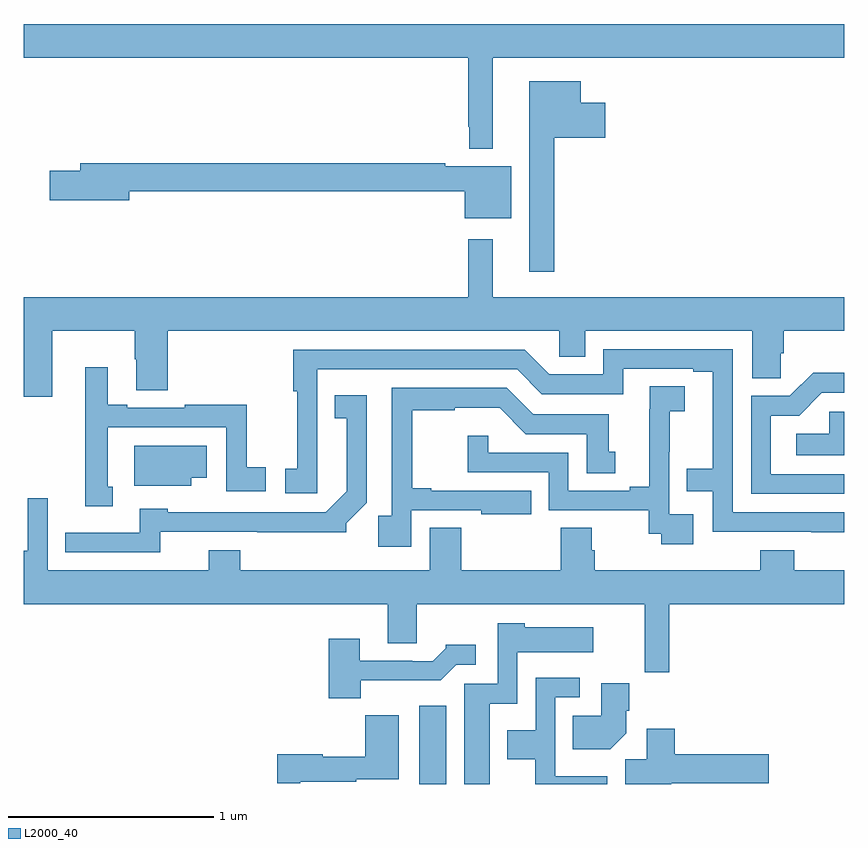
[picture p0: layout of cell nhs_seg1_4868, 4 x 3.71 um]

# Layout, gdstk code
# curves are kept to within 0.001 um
import gdstk
lib = gdstk.Library(unit=1e-6, precision=1e-09)
def R(c, l, rs):  # rectangles x0, y0, x1, y1
    for r in rs: c.add(gdstk.rectangle(r[:2], r[2:], *l))
def P(c, l, *ps):  # polygons
    for p in ps: c.add(gdstk.Polygon(p, *l))
L2000_40 = (2000, 40)

nhs_seg1_4868 = lib.new_cell('nhs_seg1_4868')
R(nhs_seg1_4868, L2000_40, [(376.928,540.199,377.059,540.58)])
P(nhs_seg1_4868, L2000_40, [(377.287,543.74),(379,543.74),(379,543.904),(375,543.904),(375,543.74),(377.166,543.74),(377.166,543.403),(377.172,543.403),(377.172,543.296),(377.287,543.296)],
  [(377.587,543.35),(377.836,543.35),(377.836,543.52),(377.716,543.52),(377.716,543.625),(377.465,543.625),(377.465,542.697),(377.587,542.697)],
  [(377.377,543.211),(377.054,543.211),(377.054,543.224),(375.275,543.224),(375.275,543.188),(375.126,543.188),(375.126,543.046),(375.514,543.046),(375.514,543.088),(377.15,543.088),(377.15,542.957),(377.377,542.957)],
  [(375.139,542.408),(375.541,542.408),(375.541,542.27),(375.548,542.27),(375.548,542.119),(375.701,542.119),(375.701,542.408),(377.61,542.408),(377.61,542.281),(377.737,542.281),(377.737,542.408),(378.551,542.408),(378.551,542.176),(378.69,542.176),(378.69,542.299),(378.704,542.299),(378.704,542.408),(379,542.408),(379,542.572),(377.287,542.572),(377.287,542.854),(377.166,542.854),(377.166,542.572),(375,542.572),(375,542.088),(375.139,542.088)],
  [(379,541.524),(378.456,541.524),(378.456,542.319),(377.826,542.319),(377.826,542.196),(377.562,542.196),(377.442,542.316),(376.315,542.316),(376.315,542.113),(376.333,542.113),(376.333,541.737),(376.275,541.737),(376.275,541.617),(376.432,541.617),(376.431,542.22),(377.406,542.22),(377.526,542.1),(377.922,542.1),(377.922,542.223),(378.263,542.223),(378.263,542.208),(378.359,542.208),(378.359,541.735),(378.232,541.735),(378.232,541.626),(378.36,541.626),(378.36,541.428),(379,541.427)],
  [(375.433,541.647),(375.409,541.647),(375.409,541.938),(375.987,541.938),(375.987,541.626),(376.18,541.626),(376.18,541.742),(376.086,541.742),(376.086,542.047),(375.784,542.047),(375.784,542.034),(375.505,542.034),(375.505,542.047),(375.409,542.047),(375.409,542.23),(375.299,542.23),(375.299,541.985),(375.3,541.985),(375.3,541.553),(375.433,541.553)],
  [(379,541.71),(378.642,541.71),(378.642,541.995),(378.78,541.995),(378.891,542.106),(379,542.106),(379,542.204),(378.848,542.204),(378.735,542.091),(378.546,542.091),(378.546,541.614),(379,541.614)],
  [(378.265,541.515),(378.147,541.515),(378.147,541.819),(378.149,541.819),(378.149,542.017),(378.223,542.017),(378.223,542.138),(378.052,542.138),(378.052,542.027),(378.05,542.027),(378.05,541.649),(377.954,541.649),(377.954,541.629),(377.655,541.629),(377.655,541.815),(377.265,541.815),(377.265,541.897),(377.164,541.897),(377.164,541.719),(377.559,541.719),(377.559,541.533),(378.046,541.533),(378.046,541.419),(378.109,541.419),(378.109,541.368),(378.265,541.368)],
  [(376.89,541.533),(377.231,541.533),(377.231,541.514),(377.474,541.514),(377.474,541.629),(376.987,541.629),(376.987,541.642),(376.895,541.642),(376.895,542.022),(377.102,542.022),(377.102,542.033),(377.32,542.033),(377.448,541.905),(377.744,541.905),(377.744,541.714),(377.884,541.714),(377.884,541.818),(377.851,541.818),(377.851,542.001),(377.484,542.001),(377.355,542.13),(376.794,542.13),(376.794,541.507),(376.729,541.507),(376.729,541.356),(376.89,541.356)],
  [(375.666,541.428),(376.572,541.427),(376.572,541.471),(376.671,541.57),(376.671,542.095),(376.516,542.095),(376.516,541.982),(376.574,541.982),(376.574,541.625),(376.473,541.524),(375.702,541.524),(375.702,541.54),(375.566,541.54),(375.566,541.425),(375.202,541.425),(375.202,541.329),(375.666,541.329)],
  [(379,542.013),(378.927,542.013),(378.927,541.906),(378.765,541.906),(378.765,541.802),(379,541.802)],
  [(375.817,541.691),(375.892,541.691),(375.892,541.849),(375.539,541.849),(375.539,541.652),(375.817,541.652)],
  [(378.146,541.076),(379,541.076),(379,541.24),(378.755,541.24),(378.755,541.339),(378.59,541.339),(378.59,541.24),(377.783,541.24),(377.783,541.338),(377.77,541.338),(377.77,541.448),(377.618,541.448),(377.618,541.24),(377.132,541.24),(377.132,541.448),(376.979,541.448),(376.979,541.24),(376.055,541.24),(376.055,541.339),(375.902,541.339),(375.902,541.24),(375.117,541.24),(375.117,541.591),(375.02,541.591),(375.02,541.336),(375.001,541.336),(375.001,541.24),(375,541.24),(375,541.076),(376.775,541.076),(376.775,540.886),(376.915,540.886),(376.915,541.076),(378.028,541.076),(378.028,540.744),(378.146,540.744)],
  [(377.272,540.59),(377.406,540.59),(377.406,540.842),(377.776,540.842),(377.776,540.964),(377.442,540.964),(377.442,540.982),(377.31,540.982),(377.31,540.687),(377.147,540.687),(377.147,540.199),(377.272,540.199)],
  [(376.642,540.704),(377.033,540.704),(377.109,540.78),(377.203,540.78),(377.203,540.877),(377.058,540.877),(377.058,540.862),(376.994,540.798),(376.895,540.798),(376.895,540.801),(376.639,540.801),(376.639,540.907),(376.487,540.907),(376.487,540.617),(376.642,540.617)],
  [(377.845,540.238),(377.592,540.238),(377.592,540.621),(377.71,540.621),(377.71,540.717),(377.496,540.717),(377.496,540.46),(377.357,540.46),(377.357,540.32),(377.494,540.32),(377.494,540.199),(377.845,540.199)],
  [(377.938,540.446),(377.938,540.556),(377.951,540.556),(377.951,540.691),(377.816,540.691),(377.816,540.532),(377.677,540.532),(377.677,540.368),(377.86,540.368)],
  [(376.348,540.209),(376.62,540.209),(376.62,540.221),(376.828,540.221),(376.828,540.535),(376.666,540.535),(376.666,540.331),(376.458,540.331),(376.458,540.344),(376.236,540.344),(376.236,540.202),(376.348,540.202)],
  [(378.156,540.202),(378.631,540.202),(378.631,540.344),(378.173,540.344),(378.173,540.469),(378.038,540.469),(378.038,540.32),(377.933,540.32),(377.933,540.199),(378.156,540.199)])

lib.write_gds('nhs_seg1_4868.gds')
